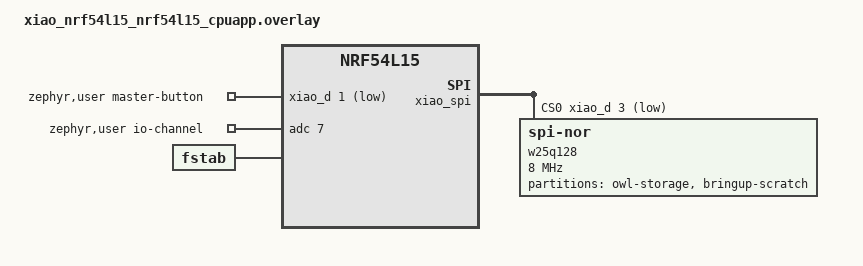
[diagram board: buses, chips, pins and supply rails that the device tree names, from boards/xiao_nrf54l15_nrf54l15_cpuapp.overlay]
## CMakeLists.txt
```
cmake_minimum_required(VERSION 3.20.0)

find_package(Zephyr REQUIRED HINTS $ENV{ZEPHYR_BASE})
project(owl_firmware)

# Hardware-independent logic (also built by tests/unit on native_sim).
target_sources(app PRIVATE
  src/owl_proto.c
  src/control.c
  src/seg_index.c
  src/state.c
  src/power_policy.c
  src/button_sm.c
  src/led_pattern.c
  src/vad.c
  src/pair_policy.c
)

# Zephyr glue.
target_sources(app PRIVATE
  src/main.c
  src/storage.c
  src/audio.c
  src/ble.c
  src/ui.c
  src/power.c
)

if(CONFIG_OWL_CODEC_OPUS)
  include(cmake/opus.cmake)
endif()
```

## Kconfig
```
# Owl application options. Defaults are the "product" settings; the debugging
# knobs are here so bring-up can change them with -D or a .conf overlay.

menu "Owl"

module = OWL
module-str = Owl
source "subsys/logging/Kconfig.template.log_config"

choice OWL_CODEC
	prompt "Audio codec stored in segments"
	default OWL_CODEC_OPUS

config OWL_CODEC_OPUS
	bool "Opus (codec 1), 16 kHz mono"
	help
	  The product codec (PRD D3): ~2 KB/s at 16 kbps, about 2 hours of
	  speech on the 16 MB flash.

config OWL_CODEC_PCM16
	bool "Raw PCM16 (codec 0), debug only"
	help
	  M1 debugging path: no encoder, 32 KB/s, the flash fills in about
	  8 minutes. Useful to tell mic problems from codec problems.

endchoice

config OWL_OPUS_COMPLEXITY
	int "Opus encoder complexity (0-10)"
	range 0 10
	default 3
	help
	  CPU vs. quality. Check the "encode: avg ... us" log line on the
	  board: the average must stay well below 20000 us per frame.

config OWL_OPUS_ARM_DSP
	bool "Use Opus' ARM DSP inline assembly"
	default y
	help
	  Cortex-M33 with the DSP extension runs Opus' ARMv5E multiply macros.

config OWL_OPUS_ENC_MEM
	int "Static memory for the Opus encoder state (bytes)"
	default 26624
	help
	  opus_encoder_get_size(1) is 24548 B for libopus 1.5.2 fixed point
	  (measured by tests/opus on native_sim, also ILP32). The recorder
	  checks the real size at boot and refuses to start if it doesn't fit.

config OWL_AUDIO_STACK_SIZE
	int "Recorder thread stack (bytes)"
	default 24576
	help
	  Opus is built with VAR_ARRAYS, so its scratch buffers live on this
	  stack. Watch the thread analyzer output in the uart.conf build.

config OWL_REC_RING_SIZE
	int "RAM ring between encoder and flash writer (bytes)"
	default 32768 if OWL_CODEC_PCM16
	default 8192
	help
	  Absorbs flash erase stalls (up to ~0.4 s per 4 KiB sector).
	  8 KiB is ~4 s of Opus.

config OWL_PDM_CHANNEL_RIGHT
	bool "Read the mic on the RIGHT PDM channel"
	help
	  The mic's L/R strap decides on which clock edge it drives data.
	  If the M0 bring-up shows rms ~0 on LEFT, set this.

config OWL_MIC_GAIN_SHIFT
	int "Digital mic gain as a left shift (0 = none, 1 = +6 dB, ...)"
	range 0 4
	default 0

config OWL_VAD_HANGOVER_MS
	int "Silence that ends a segment (ms)"
	default 1500

config OWL_VAD_PREROLL_MS
	int "Audio kept from before speech onset (ms)"
	default 200

config OWL_SEG_INDEX_MAX
	int "Max closed segments kept on flash"
	default 4096
	help
	  8 bytes of RAM each. 4096 matches the number of 4 KiB flash blocks,
	  which already bounds the number of files.

config OWL_SEG_SYNC_KB
	int "Commit audio to flash every N KiB"
	default 16
	help
	  A power cut loses at most this much (+ the 4 KiB RAM buffer).
	  16 KiB is ~8 s of Opus. Every commit copies one partly written
	  4 KiB block, so smaller values cost flash wear.

config OWL_STORAGE_RESERVE_KB
	int "Free space kept for events and file system metadata (KiB)"
	default 128

config OWL_BATTERY_PERIOD_S
	int "Battery check interval while on (s)"
	default 60

config OWL_BATTERY_CHECK_S
	int "Wake interval while off for low battery (s)"
	default 3600

config OWL_VBAT_SETTLE_MS
	int "Battery divider settle time before the ADC read (ms)"
	default 10
	help
	  Seeed's example uses 100 ms. Increase if readings are noisy.

endmenu

source "Kconfig.zephyr"
```

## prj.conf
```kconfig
# Base config = "battery build".
# UART is off on purpose: Seeed's wiki reports the XIAO nRF54L15 may fail to boot
# from battery alone when UART is enabled. For USB debugging, add uart.conf:
#   west build ... -- -DEXTRA_CONF_FILE=uart.conf

CONFIG_SERIAL=n
CONFIG_CONSOLE=n
CONFIG_UART_CONSOLE=n
CONFIG_LOG=n

# --- peripherals
CONFIG_GPIO=y
CONFIG_ADC=y
CONFIG_REGULATOR=y
CONFIG_SPI=y
CONFIG_FLASH=y
CONFIG_SPI_NOR=y
CONFIG_AUDIO=y
CONFIG_AUDIO_DMIC=y

# --- power: idle peripherals suspend themselves (external flash deep power-down)
CONFIG_PM_DEVICE=y
CONFIG_PM_DEVICE_RUNTIME=y
CONFIG_POWEROFF=y

# --- storage (decisions #18)
CONFIG_FILE_SYSTEM=y
CONFIG_FILE_SYSTEM_LITTLEFS=y
CONFIG_FILE_SYSTEM_MKFS=y
CONFIG_FLASH_MAP=y
CONFIG_FS_LITTLEFS_FMP_DEV=y
# segment, event and FETCH reader files + state file
CONFIG_FS_LITTLEFS_NUM_FILES=6
CONFIG_FS_LITTLEFS_NUM_DIRS=2

# --- Bluetooth peripheral (protocol §2)
CONFIG_BT=y
CONFIG_BT_PERIPHERAL=y
CONFIG_BT_DEVICE_NAME="Owl"
CONFIG_BT_DEVICE_NAME_DYNAMIC=y
CONFIG_BT_DEVICE_NAME_MAX=12
CONFIG_BT_MAX_CONN=1

# --- BLE security (protocol §2.4, decisions #33-#39)
# LE Secure Connections only, Just Works (no display/keypad), bonding required.
CONFIG_BT_SMP=y
CONFIG_BT_SMP_SC_PAIR_ONLY=y
CONFIG_BT_BONDABLE=y
CONFIG_BT_BONDING_REQUIRED=y
# pairing_accept() gates pairing by the power-on window (pair_policy.c).
CONFIG_BT_SMP_APP_PAIRING_ACCEPT=y
# The same phone may pair again (after it forgot us) inside the window. Without
# this, SMP refuses a Just Works pairing from a peer that already has a bond,
# before pairing_accept() is even asked. Outside the window pairing_accept()
# still refuses, so a spoofed address gains nothing.
CONFIG_BT_SMP_ALLOW_UNAUTH_OVERWRITE=y
# One phone at a time, plus a slot for the new phone while it pairs; ble.c
# deletes the old bond once the new one is complete.
CONFIG_BT_MAX_PAIRED=2
# Bonds persist in Zephyr settings on ZMS, in the board's `storage_partition`
# (internal RRAM, 36 KiB). Not the external flash: LittleFS and the bring-up
# scratch sector stay as they are. ZMS must be named: with FILE_SYSTEM=y the
# settings backend would otherwise default to a LittleFS file.
CONFIG_SETTINGS=y
CONFIG_ZMS=y
CONFIG_SETTINGS_ZMS=y
CONFIG_BT_SETTINGS=y
# MTU 247 + Data Length Extension 251 + 2M PHY
CONFIG_BT_L2CAP_TX_MTU=247
CONFIG_BT_BUF_ACL_TX_SIZE=251
CONFIG_BT_BUF_ACL_RX_SIZE=251
CONFIG_BT_BUF_ACL_TX_COUNT=10
CONFIG_BT_CONN_TX_MAX=10
CONFIG_BT_BUF_EVT_RX_COUNT=16
CONFIG_BT_CTLR_DATA_LENGTH_MAX=251
CONFIG_BT_USER_DATA_LEN_UPDATE=y
CONFIG_BT_USER_PHY_UPDATE=y
CONFIG_BT_GATT_CLIENT=y
# Ask for a 15-30 ms interval while connected (transfers are short bursts)
CONFIG_BT_PERIPHERAL_PREF_MIN_INT=12
CONFIG_BT_PERIPHERAL_PREF_MAX_INT=24
CONFIG_BT_PERIPHERAL_PREF_LATENCY=0
CONFIG_BT_PERIPHERAL_PREF_TIMEOUT=400
CONFIG_BT_GAP_AUTO_UPDATE_CONN_PARAMS=y

# --- kernel
CONFIG_MAIN_STACK_SIZE=4096
CONFIG_SYSTEM_WORKQUEUE_STACK_SIZE=2048
CONFIG_RING_BUFFER=y
CONFIG_HWINFO=y
```

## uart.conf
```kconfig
# Debug overlay: logs over the USB serial port (SAMD11 bridge -> uart20).
# Use only while the board is on USB.
CONFIG_SERIAL=y
CONFIG_CONSOLE=y
CONFIG_UART_CONSOLE=y
CONFIG_LOG=y
CONFIG_LOG_MODE_DEFERRED=y
CONFIG_LOG_BUFFER_SIZE=4096
CONFIG_LOG_DEFAULT_LEVEL=3
CONFIG_OWL_LOG_LEVEL_INF=y
# Prints each thread's peak stack use every 60 s (watch "audio": Opus uses VLAs).
CONFIG_THREAD_ANALYZER=y
CONFIG_THREAD_ANALYZER_AUTO=y
CONFIG_THREAD_ANALYZER_AUTO_INTERVAL=60
CONFIG_THREAD_NAME=y
```

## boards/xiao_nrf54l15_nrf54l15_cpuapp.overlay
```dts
/*
 * Owl wiring on XIAO nRF54L15 Sense (see hardware/wiring.md).
 * Zephyr picks this file up automatically for board xiao_nrf54l15/nrf54l15/cpuapp.
 *
 *   W25Q128 SPI flash : D8 SCK, D9 MISO, D10 MOSI (xiao_spi = spi00), D3 CS
 *   Master button     : D1 -> GND, internal pull-up
 *   Battery voltage   : AIN7 via vbat_pwr load switch, divider 1/2 (board dts)
 *
 * Flash layout (W25Q128, 16 MiB):
 *   0x000000 - 0xFFEFFF  LittleFS "/lfs" (segments, events, state)
 *   0xFFF000 - 0xFFFFFF  4 KiB scratch for the M0 bring-up erase/write test
 */

/ {
	zephyr,user {
		io-channels = <&adc 7>;
		master-button-gpios = <&xiao_d 1 (GPIO_PULL_UP | GPIO_ACTIVE_LOW)>;
	};

	fstab {
		compatible = "zephyr,fstab";

		owl_lfs: owl_lfs {
			compatible = "zephyr,fstab,littlefs";
			mount-point = "/lfs";
			partition = <&lfs_partition>;
			/* Mounted by storage.c, after the power-on decision. */
			read-size = <16>;
			prog-size = <16>;
			cache-size = <512>;
			/* 512 bytes = 4096 bits = one bit per block: one scan covers the flash. */
			lookahead-size = <512>;
			block-cycles = <512>;
		};
	};

	aliases {
		ext-flash = &w25q128;
		/* The board only names it dmic20. */
		dmic0 = &pdm20;
	};
};

&pdm20 {
	/* Filled blocks the driver may hold for us before it stops the PDM: 240 ms. */
	queue-size = <12>;
};

&xiao_spi {
	status = "okay";
	cs-gpios = <&xiao_d 3 GPIO_ACTIVE_LOW>;

	w25q128: w25q128@0 {
		compatible = "jedec,spi-nor";
		reg = <0>;
		spi-max-frequency = <8000000>;
		/* size is in bits: 128 Mbit = 16 MiB */
		size = <0x8000000>;
		/* W25Q128JV-IQ/JQ. If bring-up reports EF 70 18, it is the -IM variant: update this. */
		jedec-id = [ef 40 18];
		has-dpd;
		t-enter-dpd = <3000>;
		t-exit-dpd = <3000>;
		/* Driver puts the chip in deep power-down (~1 uA) whenever it is idle. */
		zephyr,pm-device-runtime-auto;

		partitions {
			compatible = "fixed-partitions";
			#address-cells = <1>;
			#size-cells = <1>;

			lfs_partition: partition@0 {
				label = "owl-storage";
				reg = <0x00000000 0x00fff000>;
			};

			bringup_partition: partition@fff000 {
				label = "bringup-scratch";
				reg = <0x00fff000 0x00001000>;
			};
		};
	};
};
```

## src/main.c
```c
/*
 * Owl firmware: boot sequence and the glue between modules.
 *
 *   storage.c  LittleFS: segments, events, persisted state   (M1)
 *   audio.c    PDM -> VAD -> Opus -> segments                 (M1/M2)
 *   ble.c      GATT service, CONTROL ops, DATA streaming      (M3)
 *   ui.c       button state machine, LED patterns             (M3)
 *   power.c    battery ADC, System OFF, GRTC wake             (M5 logic)
 *
 * Boot:
 *   1. mount flash, read why we were off (state file)
 *   2. power-on gate: off-by-button needs a 5 s press; off-by-battery needs
 *      >= 3.8 V (hourly GRTC wake). Otherwise straight back to System OFF.
 *   3. boot_count++, repair half-written segments, log event 7
 *   4. start recorder, BLE, button, battery monitor
 */

#include <stdlib.h>

#include <zephyr/kernel.h>
#include <zephyr/logging/log.h>
#include <app_version.h>

#include "app.h"
#include "audio.h"
#include "ble.h"
#include "power.h"
#include "power_policy.h"
#include "storage.h"
#include "ui.h"
#include "workq.h"

LOG_MODULE_REGISTER(owl, CONFIG_OWL_LOG_LEVEL);

/* ------------------------------------------------------------- work queue */

K_THREAD_STACK_DEFINE(app_wq_stack, 3072);
struct k_work_q app_workq;

void app_workq_start(void)
{
	/* Preemptible and below the recorder, so flash work never starves audio. */
	k_work_queue_start(&app_workq, app_wq_stack, K_THREAD_STACK_SIZEOF(app_wq_stack), 9,
			   NULL);
}

/* ------------------------------------------------------------ app state */

static K_MUTEX_DEFINE(app_lock);
static bool recording_on;
static atomic_t battery_mv;
static struct owl_batt_policy batt;
static atomic_t powering_off;

static void update_ui_status(void)
{
	uint8_t bits = 0;

	if (audio_is_capturing()) {
		bits |= OWL_LED_ST_RECORDING;
	}
	if (batt.low) {
		bits |= OWL_LED_ST_BATTERY_LOW;
	}
	if (audio_is_full()) {
		bits |= OWL_LED_ST_STORAGE_FULL;
	}
	ui_led_set_status(bits);
	ble_notify_status();
}

static void status_work_fn(struct k_work *w)
{
	update_ui_status();
}

static K_WORK_DEFINE(status_work, status_work_fn);

static void on_audio_state(void)
{
	k_work_submit_to_queue(&app_workq, &status_work);
}

void app_fill_status(struct owl_status *s)
{
	struct storage_usage u;

	storage_get_usage(&u);
	s->fw_ver[0] = APP_VERSION_MAJOR;
	s->fw_ver[1] = APP_VERSION_MINOR;
	s->fw_ver[2] = APP_PATCHLEVEL;
	s->battery_mv = (uint16_t)MAX(atomic_get(&battery_mv), 0);
	s->flags = 0;
	if (recording_on) {
		s->flags |= OWL_FLAG_RECORDING;
	}
	if (u.low) {
		s->flags |= OWL_FLAG_STORAGE_LOW;
	}
	if (audio_is_full()) {
		s->flags |= OWL_FLAG_STORAGE_FULL;
	}
	if (ble_pairing_open()) {
		s->flags |= OWL_FLAG_PAIRING_OPEN;
	}
	s->storage_used_kb = u.used_kb;
	s->storage_total_kb = u.total_kb;
	s->pending_segments = u.pending;
	s->boot_count = storage_boot_count();
}

int app_set_recording(bool on, uint8_t cause)
{
	int res = OWL_RESULT_OK;

	k_mutex_lock(&app_lock, K_FOREVER);
	if (recording_on != on) {
		if (storage_set_recording(on)) {
			res = OWL_RESULT_BUSY;
		} else {
			recording_on = on;
			/* State-changing events record the result (protocol §3.3). */
			storage_event(on ? OWL_EVT_RECORDING_ON : OWL_EVT_RECORDING_OFF, cause);
			audio_set_enabled(on);
			ui_led_play(on ? OWL_LED_REC_ON : OWL_LED_REC_OFF);
			LOG_INF("recording %s (%s)", on ? "on" : "off",
				cause == OWL_CAUSE_APP ? "app" : "button");
		}
	}
	k_mutex_unlock(&app_lock);
	on_audio_state();
	return res;
}

int app_set_config(uint8_t key, uint32_t value)
{
	int res = storage_set_config(key, value);

	if (res == OWL_RESULT_OK) {
		struct owl_state st;

		storage_get_state(&st);
		audio_apply_config(&st.cfg);
		LOG_INF("config key %u = %u", key, value);
	}
	return res;
}

/* ------------------------------------------------------------- power off */

static FUNC_NORETURN void power_off(uint8_t cause)
{
	bool battery = cause == OWL_CAUSE_BATTERY;

	atomic_set(&powering_off, 1);
	LOG_INF("powering off (%s)", battery ? "battery" : "button");
	ui_led_play(OWL_LED_POWER_OFF);
	ble_stop();
	audio_shutdown();
	storage_event(OWL_EVT_POWER_OFF, cause);
	storage_set_power_state(battery ? OWL_PWR_OFF_BATTERY : OWL_PWR_OFF_BUTTON);
	storage_flush();
	ui_led_wait(2000);
	/* Only a battery shutdown wakes by itself to look for a charger (decisions #20). */
	power_system_off(battery);
	CODE_UNREACHABLE;
}

/* ---------------------------------------------------------------- button */

static void on_button(enum owl_btn_action a)
{
	if (atomic_get(&powering_off)) {
		return;
	}
	switch (a) {
	case OWL_BTN_BOOKMARK:
		ui_led_play(OWL_LED_BOOKMARK);
		storage_event(OWL_EVT_BOOKMARK, 0);
		ble_notify_status();
		break;
	case OWL_BTN_HINT_2S:
		ui_led_play(OWL_LED_HINT_2S);
		break;
	case OWL_BTN_HINT_5S:
		ui_led_play(OWL_LED_HINT_5S);
		break;
	case OWL_BTN_REC_TOGGLE:
		app_set_recording(!recording_on, OWL_CAUSE_BUTTON);
		break;
	case OWL_BTN_POWER_OFF:
		power_off(OWL_CAUSE_BUTTON);
		break;
	default:
		break;
	}
}

/* --------------------------------------------------------------- battery */

static void battery_work_fn(struct k_work *w);
static K_WORK_DELAYABLE_DEFINE(battery_work, battery_work_fn);

static void battery_work_fn(struct k_work *w)
{
	int mv = power_battery_mv();
	int old = atomic_set(&battery_mv, mv);
	bool was_low = batt.low;

	switch (owl_batt_policy_update(&batt, mv)) {
	case OWL_BATT_WARN:
		LOG_WRN("battery low: %d mV", mv);
		storage_event(OWL_EVT_BATTERY_LOW, 0);
		break;
	case OWL_BATT_SHUTDOWN:
		LOG_WRN("battery empty: %d mV", mv);
		power_off(OWL_CAUSE_BATTERY);
		break;
	default:
		break;
	}
	if (batt.low != was_low || abs(mv - old) >= 20) {
		update_ui_status();
	}
	/* Below cutoff: confirm quickly instead of waiting a full period. */
	k_work_schedule_for_queue(&app_workq, &battery_work,
				  batt.below_cutoff ? K_SECONDS(5)
						    : K_SECONDS(CONFIG_OWL_BATTERY_PERIOD_S));
}

/* ------------------------------------------------------------------ boot */

/* After a wake from System OFF by the button: is it held until 5 s of uptime? */
static bool button_held_5s(void)
{
	while (k_uptime_get() < OWL_BTN_VERYLONG_MS) {
		if (!ui_button_pressed()) {
			return false;
		}
		k_msleep(20);
	}
	return true;
}

static void fatal_blink(const char *what)
{
	LOG_ERR("FATAL: %s", what);
	for (;;) {
		ui_led_play(OWL_LED_HINT_5S); /* fast blinks, like the M0 failure signal */
		k_msleep(1000);
	}
}

int main(void)
{
	struct owl_state st;
	int err;

	LOG_INF("Owl firmware %s", APP_VERSION_STRING);
	ui_led_init();
	ui_button_init();
	power_init();
	app_workq_start();

	err = storage_init();
	if (err) {
		fatal_blink("storage");
	}
	storage_get_state(&st);

	/* 1. power-on gate */
	int mv = power_battery_mv();
	bool held = false;

	if (st.power_state != OWL_PWR_ON && ui_button_pressed()) {
		held = button_held_5s();
	}
	struct owl_boot_decision d = owl_boot_decide(st.power_state, mv, held);

	LOG_INF("boot: was %u, %d mV, button %s -> %s", st.power_state, mv,
		held ? "held 5 s" : "no", d.power_on ? "ON" : "stay off");
	if (!d.power_on) {
		power_system_off(d.timer_wake);
	}

	/* 2. we are on */
	err = storage_boot();
	if (err) {
		LOG_ERR("storage boot: %d", err);
	}
	storage_get_state(&st);
	storage_event(OWL_EVT_POWER_ON, d.cause);
	ui_led_play(OWL_LED_POWER_ON);
	LOG_INF("boot_count %u, recording %s", st.boot_count, st.recording_on ? "on" : "off");

	atomic_set(&battery_mv, mv);
	owl_batt_policy_init(&batt);
	recording_on = st.recording_on;

	/* 3. subsystems */
	if (audio_init(on_audio_state) == 0) {
		audio_apply_config(&st.cfg);
		audio_set_enabled(st.recording_on);
		audio_start();
	} else {
		LOG_ERR("no microphone: BLE sync still works, recording does not");
	}

	err = ble_init();
	if (err) {
		LOG_ERR("BLE init: %d", err);
	}

	ui_button_start(on_button, ui_button_pressed());
	k_work_schedule_for_queue(&app_workq, &battery_work, K_NO_WAIT);
	update_ui_status();
	return 0;
}
```

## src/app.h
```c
/*
 * Functions main.c provides to the other modules (it owns the cross-module
 * state: recording switch, battery reading, LED status).
 */

#ifndef OWL_APP_H_
#define OWL_APP_H_

#include <stdbool.h>
#include <stdint.h>

#include "owl_proto.h"

/* Snapshot for the STATUS characteristic. */
void app_fill_status(struct owl_status *s);

/* Recording switch from the button (OWL_CAUSE_BUTTON) or the app (OWL_CAUSE_APP).
 * Logs event 2/3 when the state changes. Returns an enum owl_result.
 */
int app_set_recording(bool on, uint8_t cause);

/* SET_CONFIG. Returns an enum owl_result. */
int app_set_config(uint8_t key, uint32_t value);

#endif /* OWL_APP_H_ */
```

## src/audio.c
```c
/*
 * Recorder: capture, VAD, encode, and hand frames to the flash writer. See audio.h.
 *
 * PDM in one paragraph: the MEMS mic outputs a 1-bit stream at ~1-3 MHz; the
 * nRF PDM peripheral low-pass filters and decimates it to 16 kHz PCM16 and DMAs
 * it into blocks from a memory slab. dmic_read() hands us one filled block
 * (20 ms = 320 samples here); we must give it back with k_mem_slab_free().
 * If we are too slow the driver runs out of free blocks and drops audio.
 */

#include <errno.h>
#include <string.h>

#include <zephyr/kernel.h>
#include <zephyr/device.h>
#include <zephyr/audio/dmic.h>
#include <zephyr/drivers/regulator.h>
#include <zephyr/sys/ring_buffer.h>
#include <zephyr/logging/log.h>

#if defined(CONFIG_OWL_CODEC_OPUS)
#include <opus.h>
#endif

#include "audio.h"
#include "owl_proto.h"
#include "storage.h"
#include "vad.h"

LOG_MODULE_REGISTER(audio, CONFIG_OWL_LOG_LEVEL);

#define RATE          16000
#define FRAME_MS      20
#define FRAME_SAMPLES (RATE * FRAME_MS / 1000) /* 320 */
#define FRAME_BYTES   (FRAME_SAMPLES * 2)
/* 12 blocks = 240 ms of slack for encoder bursts (pre-roll) and scheduling. */
#define BLOCK_COUNT   12
#define PREROLL_FRAMES (CONFIG_OWL_VAD_PREROLL_MS / FRAME_MS)

#if defined(CONFIG_OWL_CODEC_OPUS)
#define CODEC        OWL_CODEC_OPUS
#define MAX_PACKET   256 /* 16 kbps CVBR gives ~40 B per 20 ms; this is generous */
#else
#define CODEC        OWL_CODEC_PCM16
#define MAX_PACKET   FRAME_BYTES
#endif

static const struct device *const dmic = DEVICE_DT_GET(DT_ALIAS(dmic0));

/* The board switches mic + IMU power with a load switch; off while not recording. */
#if DT_NODE_EXISTS(DT_NODELABEL(pdm_imu_pwr))
static const struct device *const mic_pwr = DEVICE_DT_GET(DT_NODELABEL(pdm_imu_pwr));
#else
static const struct device *const mic_pwr;
#endif

K_MEM_SLAB_DEFINE_STATIC(pcm_slab, FRAME_BYTES, BLOCK_COUNT, 4);

static audio_state_cb_t state_cb;
static K_SEM_DEFINE(wake, 0, 1);
static atomic_t enabled;
static atomic_t shutting_down;
static atomic_t capturing;
static atomic_t full;

/* Config, applied by the audio thread at safe points. */
static struct k_spinlock cfg_lock;
static struct owl_config cfg = {.opus_bitrate = 16000, .vad_sensitivity = 2, .segment_max_s = 300};
static atomic_t cfg_dirty;

/* -------------------------------------------------- ring to the writer */

enum msg_type { MSG_BEGIN = 1, MSG_FRAME = 2, MSG_END = 3 };

RING_BUF_DECLARE(ring, CONFIG_OWL_REC_RING_SIZE);
static struct k_spinlock ring_lock;
static K_SEM_DEFINE(ring_sem, 0, 1);
static atomic_t writer_busy;

/* Puts [type][len u16][a][b] atomically, or nothing. */
static bool post(uint8_t type, const void *a, uint16_t alen, const void *b, uint16_t blen)
{
	uint8_t hdr[3] = {type, (uint8_t)(alen + blen), (uint8_t)((alen + blen) >> 8)};
	k_spinlock_key_t key = k_spin_lock(&ring_lock);
	bool ok = ring_buf_space_get(&ring) >= sizeof(hdr) + alen + blen;

	if (ok) {
		ring_buf_put(&ring, hdr, sizeof(hdr));
		if (alen) {
			ring_buf_put(&ring, a, alen);
		}
		if (blen) {
			ring_buf_put(&ring, b, blen);
		}
	}
	k_spin_unlock(&ring_lock, key);
	if (ok) {
		k_sem_give(&ring_sem);
	}
	return ok;
}

static bool post_begin(uint64_t start_ms)
{
	uint8_t b[8];

	owl_put_u64(b, start_ms);
	return post(MSG_BEGIN, b, sizeof(b), NULL, 0);
}

static bool ring_get(void *dst, uint32_t len)
{
	k_spinlock_key_t key = k_spin_lock(&ring_lock);
	uint32_t n = ring_buf_get(&ring, dst, len);

	k_spin_unlock(&ring_lock, key);
	return n == len;
}

static bool ring_empty(void)
{
	k_spinlock_key_t key = k_spin_lock(&ring_lock);
	bool e = ring_buf_is_empty(&ring);

	k_spin_unlock(&ring_lock, key);
	return e;
}

static void set_full(bool on)
{
	if (atomic_set(&full, on) == on) {
		return;
	}
	if (on) {
		/* Event 4 once per episode; recording resumes after the phone frees space. */
		storage_event(OWL_EVT_STORAGE_FULL, 0);
	}
	if (state_cb) {
		state_cb();
	}
	k_sem_give(&wake);
}

static void writer_thread(void *a, void *b, void *c)
{
	static uint8_t payload[MAX_PACKET + 8];
	bool seg_open = false;
	bool drop = false;

	for (;;) {
		if (ring_empty()) {
			atomic_set(&writer_busy, 0);
			k_sem_take(&ring_sem, K_FOREVER);
			continue;
		}
		/* Set before taking the message, so audio_shutdown() never sees "empty and idle"
		 * while the last message is still being written.
		 */
		atomic_set(&writer_busy, 1);

		uint8_t hdr[3];

		if (!ring_get(hdr, sizeof(hdr))) {
			continue;
		}
		uint16_t len = owl_get_u16(&hdr[1]);

		if (len > sizeof(payload) || !ring_get(payload, len)) {
			LOG_ERR("ring corrupt, resetting");
			ring_buf_reset(&ring);
			continue;
		}

		int err = 0;

		switch (hdr[0]) {
		case MSG_BEGIN:
			if (seg_open) {
				storage_seg_end(); /* its END was lost */
			}
			err = storage_seg_begin(CODEC, FRAME_MS, owl_get_u64(payload));
			seg_open = err == 0;
			drop = !seg_open;
			break;
		case MSG_FRAME:
			if (seg_open && !drop) {
				err = storage_seg_append(payload, len);
			}
			break;
		case MSG_END:
			if (seg_open) {
				storage_seg_end();
			}
			seg_open = false;
			drop = false;
			break;
		}

		if (err) {
			/* Keep what is on flash and skip the rest of this segment. */
			if (seg_open) {
				storage_seg_end();
				seg_open = false;
			}
			drop = true;
			if (err == -ENOSPC) {
				set_full(true);
			} else {
				LOG_ERR("writer: msg %u err %d", hdr[0], err);
			}
		}
	}
}

K_THREAD_DEFINE(writer_tid, 4096, writer_thread, NULL, NULL, NULL, 6, 0, -1);

/* ------------------------------------------------------------- encoder */

#if defined(CONFIG_OWL_CODEC_OPUS)
static uint8_t enc_mem[CONFIG_OWL_OPUS_ENC_MEM] __aligned(8);
static OpusEncoder *enc;

static int codec_init(uint32_t bitrate)
{
	int size = opus_encoder_get_size(1);

	if (size <= 0 || size > (int)sizeof(enc_mem)) {
		LOG_ERR("opus encoder needs %d bytes, have %u", size, sizeof(enc_mem));
		return -ENOMEM;
	}
	enc = (OpusEncoder *)enc_mem;
	int err = opus_encoder_init(enc, RATE, 1, OPUS_APPLICATION_VOIP);

	if (err != OPUS_OK) {
		LOG_ERR("opus init: %d", err);
		return -EIO;
	}
	opus_encoder_ctl(enc, OPUS_SET_BITRATE(bitrate));
	opus_encoder_ctl(enc, OPUS_SET_COMPLEXITY(CONFIG_OWL_OPUS_COMPLEXITY));
	opus_encoder_ctl(enc, OPUS_SET_SIGNAL(OPUS_SIGNAL_VOICE));
	opus_encoder_ctl(enc, OPUS_SET_BANDWIDTH(OPUS_BANDWIDTH_WIDEBAND));
	/* Constrained VBR: size stays near the target, which keeps the 2 h estimate honest. */
	opus_encoder_ctl(enc, OPUS_SET_VBR(1));
	opus_encoder_ctl(enc, OPUS_SET_VBR_CONSTRAINT(1));
	/* VAD already removed silence; DTX/FEC only matter for live streaming. */
	opus_encoder_ctl(enc, OPUS_SET_DTX(0));
	opus_encoder_ctl(enc, OPUS_SET_INBAND_FEC(0));
	opus_encoder_ctl(enc, OPUS_SET_LSB_DEPTH(16));
	LOG_INF("opus: %d B state, %u bps, complexity %d", size, bitrate,
		CONFIG_OWL_OPUS_COMPLEXITY);
	return 0;
}

static void codec_set_bitrate(uint32_t bitrate)
{
	opus_encoder_ctl(enc, OPUS_SET_BITRATE(bitrate));
}

/* Each segment must decode on its own, so the encoder forgets the previous one. */
static void codec_reset(void)
{
	opus_encoder_ctl(enc, OPUS_RESET_STATE);
}

static int codec_encode(const int16_t *pcm, uint8_t *out)
{
	return opus_encode(enc, pcm, FRAME_SAMPLES, out, MAX_PACKET);
}
#else
static int codec_init(uint32_t bitrate)
{
	ARG_UNUSED(bitrate);
	LOG_WRN("PCM16 debug codec: ~115 MB/h, flash fills in ~8 min");
	return 0;
}

static void codec_set_bitrate(uint32_t bitrate)
{
	ARG_UNUSED(bitrate);
}

static void codec_reset(void)
{
}

static int codec_encode(const int16_t *pcm, uint8_t *out)
{
	memcpy(out, pcm, FRAME_BYTES); /* nRF is little-endian, same as the wire */
	return FRAME_BYTES;
}
#endif

/* ---------------------------------------------------------- audio thread */

static int16_t preroll[PREROLL_FRAMES][FRAME_SAMPLES];
static int preroll_head, preroll_count;
static uint8_t packet[MAX_PACKET];
static bool broken; /* a frame was lost to a full ring: restart the segment */

static struct {
	uint32_t frames;
	uint32_t cycles_sum;
	uint32_t cycles_max;
	uint32_t dropped;
} stats;

static void encode_and_post(const int16_t *pcm)
{
	uint32_t t0 = k_cycle_get_32();
	int n = codec_encode(pcm, packet);
	uint32_t dt = k_cycle_get_32() - t0;

	stats.frames++;
	stats.cycles_sum += dt;
	stats.cycles_max = MAX(stats.cycles_max, dt);
	if (stats.frames == 500) { /* every 10 s of speech */
		LOG_INF("encode: avg %u us, max %u us per 20 ms frame, %u dropped",
			k_cyc_to_us_floor32(stats.cycles_sum / stats.frames),
			k_cyc_to_us_floor32(stats.cycles_max), stats.dropped);
		memset(&stats, 0, sizeof(stats));
	}

	if (n <= 0) {
		LOG_ERR("encode: %d", n);
		return;
	}
	if (broken) {
		/* Close the damaged segment and start fresh so frame count == duration again. */
		if (!post(MSG_END, NULL, 0, NULL, 0) ||
		    !post_begin((uint64_t)k_uptime_get() - FRAME_MS)) {
			stats.dropped++;
			return;
		}
		broken = false;
		codec_reset();
	}
	if (!post(MSG_FRAME, packet, (uint16_t)n, NULL, 0)) {
		stats.dropped++;
		broken = true;
	}
}

static void preroll_push(const int16_t *pcm)
{
	if (PREROLL_FRAMES == 0) {
		return;
	}
	memcpy(preroll[preroll_head], pcm, FRAME_BYTES);
	preroll_head = (preroll_head + 1) % PREROLL_FRAMES;
	preroll_count = MIN(preroll_count + 1, PREROLL_FRAMES);
}

static void preroll_flush(void)
{
	int start = (preroll_head - preroll_count + PREROLL_FRAMES) % MAX(PREROLL_FRAMES, 1);

	for (int i = 0; i < preroll_count; i++) {
		encode_and_post(preroll[(start + i) % PREROLL_FRAMES]);
	}
	preroll_count = 0;
}

static void apply_gain(int16_t *pcm)
{
#if CONFIG_OWL_MIC_GAIN_SHIFT > 0
	for (int i = 0; i < FRAME_SAMPLES; i++) {
		int32_t v = (int32_t)pcm[i] << CONFIG_OWL_MIC_GAIN_SHIFT;

		pcm[i] = (int16_t)CLAMP(v, INT16_MIN, INT16_MAX);
	}
#else
	ARG_UNUSED(pcm);
#endif
}

static int mic_start(void)
{
	struct pcm_stream_cfg stream = {
		.pcm_rate = RATE,
		.pcm_width = 16,
		.block_size = FRAME_BYTES,
		.mem_slab = &pcm_slab,
	};
	struct dmic_cfg dcfg = {
		.io = {
			.min_pdm_clk_freq = 1000000,
			.max_pdm_clk_freq = 3500000,
			.min_pdm_clk_dc = 40,
			.max_pdm_clk_dc = 60,
		},
		.streams = &stream,
		.channel = {
			.req_num_streams = 1,
			.req_num_chan = 1,
		},
	};
	/* The mic's L/R strap picks the clock edge it drives data on; see Kconfig. */
	dcfg.channel.req_chan_map_lo = dmic_build_channel_map(
		0, 0, IS_ENABLED(CONFIG_OWL_PDM_CHANNEL_RIGHT) ? PDM_CHAN_RIGHT : PDM_CHAN_LEFT);

	static bool configured;
	int err = 0;

	if (mic_pwr && device_is_ready(mic_pwr)) {
		regulator_enable(mic_pwr); /* includes the rail's 5 ms startup delay */
	}
	/* The PDM keeps its configuration across stop/start; set it up once. */
	if (!configured) {
		err = dmic_configure(dmic, &dcfg);
		configured = err == 0;
	}
	if (!err) {
		err = dmic_trigger(dmic, DMIC_TRIGGER_START);
	}
	if (err) {
		LOG_ERR("mic start: %d", err);
		if (mic_pwr && device_is_ready(mic_pwr)) {
			regulator_disable(mic_pwr);
		}
	}
	return err;
}

static void mic_stop(void)
{
	dmic_trigger(dmic, DMIC_TRIGGER_STOP);
	/* STOP is asynchronous: the PDM finishes the block in flight, then the driver
	 * marks itself inactive. Starting again before that would be ignored.
	 */
	k_msleep(2 * FRAME_MS + 10);
	/* Return the filled blocks we never read. */
	void *buf;
	size_t size;

	while (dmic_read(dmic, 0, &buf, &size, 0) == 0) {
		k_mem_slab_free(&pcm_slab, buf);
	}
	if (mic_pwr && device_is_ready(mic_pwr)) {
		regulator_disable(mic_pwr);
	}
}

static bool should_capture(void)
{
	return atomic_get(&enabled) && !atomic_get(&full) && !atomic_get(&shutting_down);
}

static void set_capturing(bool on)
{
	if (atomic_set(&capturing, on) != on && state_cb) {
		state_cb();
	}
}

static void load_cfg(struct owl_segmenter *seg, struct owl_vad *vad, uint32_t *bitrate)
{
	k_spinlock_key_t key = k_spin_lock(&cfg_lock);
	struct owl_config c = cfg;

	k_spin_unlock(&cfg_lock, key);
	owl_vad_set_sensitivity(vad, c.vad_sensitivity);
	owl_segmenter_set_max(seg, (uint32_t)c.segment_max_s * 1000U);
	*bitrate = c.opus_bitrate;
}

static void check_space(void)
{
	struct storage_usage u;

	storage_get_usage(&u);
	set_full(u.full);
}

static void audio_thread(void *a, void *b, void *c)
{
	static struct owl_vad vad;
	static struct owl_segmenter seg;
	uint32_t bitrate = 16000;

	owl_vad_init(&vad, 2);
	owl_segmenter_init(&seg, CONFIG_OWL_VAD_HANGOVER_MS, 300000);
	load_cfg(&seg, &vad, &bitrate);
	if (codec_init(bitrate)) {
		LOG_ERR("no encoder, recorder disabled");
		return;
	}
	k_thread_start(writer_tid);

	for (;;) {
		check_space();
		if (!should_capture()) {
			set_capturing(false);
			/* Re-check now and then: space may be freed without a callback. */
			k_sem_take(&wake, K_SECONDS(30));
			continue;
		}
		if (mic_start()) {
			k_sem_take(&wake, K_SECONDS(5));
			continue;
		}
		set_capturing(true);
		owl_segmenter_reset(&seg);
		preroll_count = 0;
		broken = false;
		uint32_t n = 0;

		while (should_capture()) {
			void *buf;
			size_t size;

			if (atomic_clear(&cfg_dirty)) {
				uint32_t br;

				load_cfg(&seg, &vad, &br);
				if (br != bitrate) {
					bitrate = br;
					codec_set_bitrate(bitrate);
				}
			}

			int err = dmic_read(dmic, 0, &buf, &size, 200);

			if (err) {
				LOG_ERR("mic read: %d, restarting mic", err);
				break;
			}
			int16_t *pcm = buf;

			apply_gain(pcm);
			bool speech = owl_vad_frame(&vad, pcm, (int)(size / 2));
			enum owl_seg_action act = owl_segmenter_step(&seg, speech);
			uint64_t now = (uint64_t)k_uptime_get();

			switch (act) {
			case OWL_SEG_IDLE:
				preroll_push(pcm);
				break;
			case OWL_SEG_START:
				/* Start time = oldest pre-roll frame; capture latency ~1 frame. */
				broken = !post_begin(now - (uint64_t)(preroll_count + 1) * FRAME_MS);
				codec_reset();
				preroll_flush();
				encode_and_post(pcm);
				break;
			case OWL_SEG_CONTINUE:
				encode_and_post(pcm);
				break;
			case OWL_SEG_END:
				encode_and_post(pcm);
				/* If END doesn't fit, the writer closes the segment at the next BEGIN. */
				post(MSG_END, NULL, 0, NULL, 0);
				break;
			case OWL_SEG_ROLLOVER:
				broken = !post(MSG_END, NULL, 0, NULL, 0) ||
					 !post_begin(now - FRAME_MS);
				codec_reset();
				encode_and_post(pcm);
				break;
			}
			k_mem_slab_free(&pcm_slab, buf);

			if (++n % 50 == 0) { /* once a second */
				check_space();
				LOG_DBG("vad e=%u zcr=%u floor=%u", vad.last_energy, vad.last_zcr,
					vad.floor);
			}
		}

		if (seg.active) {
			post(MSG_END, NULL, 0, NULL, 0);
			owl_segmenter_reset(&seg);
		}
		mic_stop();
	}
}

K_THREAD_DEFINE(audio_tid, CONFIG_OWL_AUDIO_STACK_SIZE, audio_thread, NULL, NULL, NULL, 3, 0, -1);

/* ---------------------------------------------------------------- public */

static void space_freed(void)
{
	k_sem_give(&wake);
}

int audio_init(audio_state_cb_t cb)
{
	state_cb = cb;
	storage_set_space_cb(space_freed);
	if (!device_is_ready(dmic)) {
		LOG_ERR("dmic not ready");
		return -ENODEV;
	}
	if (mic_pwr && device_is_ready(mic_pwr)) {
		regulator_disable(mic_pwr); /* boot default is on; we turn it on when recording */
	}
	return 0;
}

void audio_start(void)
{
	k_thread_start(audio_tid);
}

void audio_set_enabled(bool on)
{
	atomic_set(&enabled, on);
	k_sem_give(&wake);
}

void audio_apply_config(const struct owl_config *c)
{
	k_spinlock_key_t key = k_spin_lock(&cfg_lock);

	cfg = *c;
	k_spin_unlock(&cfg_lock, key);
	atomic_set(&cfg_dirty, 1);
}

bool audio_is_capturing(void)
{
	return atomic_get(&capturing);
}

bool audio_is_full(void)
{
	return atomic_get(&full);
}

void audio_shutdown(void)
{
	atomic_set(&shutting_down, 1);
	k_sem_give(&wake);
	/* Wait for the audio thread to post END and stop the mic, then for the writer. */
	for (int i = 0; i < 50 && atomic_get(&capturing); i++) {
		k_msleep(20);
	}
	for (int i = 0; i < 150 && (!ring_empty() || atomic_get(&writer_busy)); i++) {
		k_msleep(20);
	}
	storage_seg_end(); /* no-op if the writer already closed it */
}
```

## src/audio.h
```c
/*
 * Recorder: PDM mic -> VAD -> Opus (or PCM16) -> segments on flash.
 *
 * Two threads:
 *   audio  : reads 20 ms PDM blocks, runs VAD and the encoder (CPU heavy)
 *   writer : takes encoded frames from a RAM ring and writes them to flash
 * The ring decouples the two, so a slow flash erase (up to ~0.4 s on W25Q128)
 * never makes the PDM driver drop samples.
 */

#ifndef OWL_AUDIO_H_
#define OWL_AUDIO_H_

#include <stdbool.h>

#include "state.h"

/* Called from recorder threads whenever capturing/full changes. Keep it short. */
typedef void (*audio_state_cb_t)(void);

int audio_init(audio_state_cb_t cb);
/* Starts the threads (after the power-on gate). */
void audio_start(void);

/* The user's recording switch (button 2 s / SET_RECORDING). */
void audio_set_enabled(bool on);
/* VAD sensitivity, segment max length and bitrate; applied from the next frame/segment. */
void audio_apply_config(const struct owl_config *cfg);

bool audio_is_capturing(void);
/* Recording is paused because flash is full (STATUS bit3). */
bool audio_is_full(void);

/* Stops capture and waits until the open segment is on flash (before System OFF). */
void audio_shutdown(void);

#endif /* OWL_AUDIO_H_ */
```

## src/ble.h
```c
/*
 * BLE peripheral: Owl GATT service (protocol §2), advertising, and the
 * CONTROL / DATA handling (LIST, FETCH streaming with flow control, ACK).
 */

#ifndef OWL_BLE_H_
#define OWL_BLE_H_

#include <stdbool.h>

int ble_init(void);
/* Push a STATUS notification if a phone is subscribed (cheap to call often). */
void ble_notify_status(void);
bool ble_is_connected(void);
/* Would a new pairing be accepted now (STATUS flag bit4, protocol §2.4)? */
bool ble_pairing_open(void);
/* Disconnect and stop advertising (before System OFF). */
void ble_stop(void);

#endif /* OWL_BLE_H_ */
```

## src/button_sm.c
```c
/* Master button state machine. See button_sm.h. */

#include "button_sm.h"

void owl_btn_init(struct owl_btn_sm *sm, bool held_at_boot)
{
	sm->pressed = held_at_boot;
	sm->ignore_until_release = held_at_boot;
	sm->press_ms = 0;
	sm->hints_sent = 0;
}

enum owl_btn_action owl_btn_edge(struct owl_btn_sm *sm, bool pressed, int64_t now_ms)
{
	if (pressed == sm->pressed) {
		return OWL_BTN_NONE; /* duplicate edge */
	}
	sm->pressed = pressed;

	if (pressed) {
		sm->press_ms = now_ms;
		sm->hints_sent = 0;
		return OWL_BTN_NONE;
	}

	if (sm->ignore_until_release) {
		sm->ignore_until_release = false;
		return OWL_BTN_NONE;
	}

	int64_t held = now_ms - sm->press_ms;

	if (held >= OWL_BTN_VERYLONG_MS) {
		return OWL_BTN_POWER_OFF;
	}
	if (held >= OWL_BTN_LONG_MS) {
		return OWL_BTN_REC_TOGGLE;
	}
	return OWL_BTN_BOOKMARK;
}

enum owl_btn_action owl_btn_tick(struct owl_btn_sm *sm, int64_t now_ms)
{
	if (!sm->pressed || sm->ignore_until_release) {
		return OWL_BTN_NONE;
	}
	int64_t held = now_ms - sm->press_ms;

	/* One hint per tick; if a tick was late, the 5 s hint follows on the next one. */
	if (sm->hints_sent == 0 && held >= OWL_BTN_LONG_MS) {
		sm->hints_sent = 1;
		return OWL_BTN_HINT_2S;
	}
	if (sm->hints_sent == 1 && held >= OWL_BTN_VERYLONG_MS) {
		sm->hints_sent = 2;
		return OWL_BTN_HINT_5S;
	}
	return OWL_BTN_NONE;
}

int64_t owl_btn_next_deadline(const struct owl_btn_sm *sm)
{
	if (!sm->pressed || sm->ignore_until_release) {
		return -1;
	}
	switch (sm->hints_sent) {
	case 0:
		return sm->press_ms + OWL_BTN_LONG_MS;
	case 1:
		return sm->press_ms + OWL_BTN_VERYLONG_MS;
	default:
		return -1;
	}
}
```

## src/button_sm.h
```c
/*
 * Master button state machine (decisions #13, #21). Pure logic, time in ms.
 *
 *   release before 2 s        -> BOOKMARK
 *   still held at 2 s         -> HINT_2S  (LED: "release now = recording toggle")
 *   release between 2 and 5 s -> REC_TOGGLE
 *   still held at 5 s         -> HINT_5S  (LED: "release now = power off")
 *   release after 5 s         -> POWER_OFF
 *
 * Actions fire on release, so the user can change their mind by holding longer.
 * The glue (button.c) debounces the GPIO and feeds clean edges in here.
 */

#ifndef OWL_BUTTON_SM_H_
#define OWL_BUTTON_SM_H_

#include <stdbool.h>
#include <stdint.h>

#define OWL_BTN_LONG_MS     2000
#define OWL_BTN_VERYLONG_MS 5000

enum owl_btn_action {
	OWL_BTN_NONE,
	OWL_BTN_BOOKMARK,
	OWL_BTN_REC_TOGGLE,
	OWL_BTN_POWER_OFF,
	OWL_BTN_HINT_2S,
	OWL_BTN_HINT_5S,
};

struct owl_btn_sm {
	bool pressed;
	/* Set when the button was already down at boot (the 5 s power-on press):
	 * that release must not also count as a press. */
	bool ignore_until_release;
	int64_t press_ms;
	uint8_t hints_sent;
};

void owl_btn_init(struct owl_btn_sm *sm, bool held_at_boot);

/* Feed a debounced edge. Returns the action for a release, else NONE. */
enum owl_btn_action owl_btn_edge(struct owl_btn_sm *sm, bool pressed, int64_t now_ms);

/* Call at (or after) owl_btn_next_deadline() while held. Returns a HINT or NONE. */
enum owl_btn_action owl_btn_tick(struct owl_btn_sm *sm, int64_t now_ms);

/* Absolute time of the next hint, or -1 if nothing is pending. */
int64_t owl_btn_next_deadline(const struct owl_btn_sm *sm);

#endif /* OWL_BUTTON_SM_H_ */
```

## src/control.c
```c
/* CONTROL request dispatch. See control.h. */

#include "control.h"

/* Minimum payload length (after op, seq) per opcode. */
static int payload_len_for(uint8_t op)
{
	switch (op) {
	case OWL_OP_TIME_SYNC:
		return 10; /* unix_ms u64, tz_offset_min i16 */
	case OWL_OP_LIST_SEGMENTS:
		return 5; /* after_id u32, max u8 */
	case OWL_OP_FETCH_SEGMENT:
		return 8; /* id u32, offset u32 */
	case OWL_OP_ACK_SEGMENT:
		return 8; /* id u32, crc32 u32 */
	case OWL_OP_ABORT:
		return 0;
	case OWL_OP_SET_RECORDING:
		return 1; /* on u8 */
	case OWL_OP_SET_CONFIG:
		return 5; /* key u8, value u32 */
	case OWL_OP_UNPAIR:
		return 0;
	default:
		return -1;
	}
}

int owl_control_list_capacity(size_t resp_max)
{
	if (resp_max < 4) {
		return 0;
	}
	int n = (int)((resp_max - 4) / OWL_LIST_ENTRY_LEN);

	return n > OWL_LIST_MAX ? OWL_LIST_MAX : n;
}

size_t owl_control_handle(const struct owl_ctl_ops *ops, const uint8_t *req, size_t len,
			  uint8_t *resp, size_t resp_max)
{
	if (len == 0 || resp_max < 3) {
		return 0;
	}

	const uint8_t op = req[0];
	const uint8_t seq = len >= 2 ? req[1] : 0;
	const uint8_t *p = &req[2];
	size_t out = 3;

	resp[0] = op | OWL_RESPONSE_BIT;
	resp[1] = seq;

	int need = payload_len_for(op);

	if (need < 0) {
		resp[2] = OWL_RESULT_UNKNOWN_OP;
		return out;
	}
	if (len < 2 || len - 2 < (size_t)need) {
		resp[2] = OWL_RESULT_BAD_LENGTH;
		return out;
	}

	int result = OWL_RESULT_OK;

	switch (op) {
	case OWL_OP_TIME_SYNC: {
		uint32_t boot_count = 0;
		uint64_t uptime_ms = 0;

		ops->time_sync(owl_get_u64(&p[0]), (int16_t)owl_get_u16(&p[8]), &boot_count,
			       &uptime_ms);
		if (resp_max >= out + 12) {
			owl_put_u32(&resp[out], boot_count);
			owl_put_u64(&resp[out + 4], uptime_ms);
			out += 12;
		}
		break;
	}
	case OWL_OP_LIST_SEGMENTS: {
		struct owl_list_entry entries[OWL_LIST_MAX];
		int max = p[4];
		int cap = owl_control_list_capacity(resp_max);

		if (max > cap) {
			max = cap;
		}
		int n = max > 0 ? ops->list(owl_get_u32(&p[0]), entries, max) : 0;

		if (n < 0) {
			n = 0;
		}
		resp[out++] = (uint8_t)n;
		for (int i = 0; i < n; i++) {
			owl_list_entry_pack(&entries[i], &resp[out]);
			out += OWL_LIST_ENTRY_LEN;
		}
		break;
	}
	case OWL_OP_FETCH_SEGMENT:
		result = ops->fetch(owl_get_u32(&p[0]), owl_get_u32(&p[4]));
		break;
	case OWL_OP_ACK_SEGMENT:
		result = ops->ack(owl_get_u32(&p[0]), owl_get_u32(&p[4]));
		break;
	case OWL_OP_ABORT:
		ops->abort();
		break;
	case OWL_OP_SET_RECORDING:
		/* Only 0 and 1 are defined; anything else is a malformed request. */
		result = p[0] > 1 ? OWL_RESULT_BAD_LENGTH : ops->set_recording(p[0] == 1);
		break;
	case OWL_OP_SET_CONFIG:
		result = ops->set_config(p[0], owl_get_u32(&p[1]));
		break;
	case OWL_OP_UNPAIR:
		result = ops->unpair();
		break;
	}

	resp[2] = (uint8_t)result;
	return out;
}
```

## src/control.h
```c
/*
 * CONTROL characteristic request parser / response encoder (§2.2).
 *
 * Pure logic: the actual work is delegated to an ops table, so the BLE glue
 * (ble.c) plugs in real storage/recorder calls and the tests plug in fakes.
 */

#ifndef OWL_CONTROL_H_
#define OWL_CONTROL_H_

#include <stdbool.h>
#include <stddef.h>
#include <stdint.h>

#include "owl_proto.h"

struct owl_ctl_ops {
	/* Device ignores the phone's clock; it only answers where it is in its own time. */
	void (*time_sync)(uint64_t unix_ms, int16_t tz_offset_min, uint32_t *boot_count,
			  uint64_t *uptime_ms);
	/* Up to max entries with id > after_id, ascending. Returns the count. */
	int (*list)(uint32_t after_id, struct owl_list_entry *out, int max);
	/* Each returns an enum owl_result. */
	int (*fetch)(uint32_t id, uint32_t offset);
	int (*ack)(uint32_t id, uint32_t crc32);
	void (*abort)(void);
	int (*set_recording)(bool on);
	int (*set_config)(uint8_t key, uint32_t value);
	/* Delete every bond after the response is sent (§2.4). */
	int (*unpair)(void);
};

/*
 * Handles one CONTROL write. Writes the response into resp (at most resp_max
 * bytes, i.e. ATT_MTU - 3 of the current connection) and returns its length,
 * or 0 when no response can be sent (empty write).
 *
 * Payloads longer than expected are accepted and the tail is ignored, so a
 * newer app can append fields (§7). Shorter ones get OWL_RESULT_BAD_LENGTH.
 */
size_t owl_control_handle(const struct owl_ctl_ops *ops, const uint8_t *req, size_t len,
			  uint8_t *resp, size_t resp_max);

/* How many LIST entries fit in one response of resp_max bytes (<= OWL_LIST_MAX). */
int owl_control_list_capacity(size_t resp_max);

#endif /* OWL_CONTROL_H_ */
```

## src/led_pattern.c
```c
/* LED pattern sequencer. See led_pattern.h. */

#include <stddef.h>

#include "led_pattern.h"

#ifndef MAX
#define MAX(a, b) ((a) > (b) ? (a) : (b))
#endif

/*
 * Durations in ms. "short" ~ 60 ms, "long" ~ 500 ms; the LED draws ~0.9 mA
 * while on, so these keep the average well under 0.01 mA (decisions #21).
 */
static const uint16_t p_bookmark[] = {25};
static const uint16_t p_hint_2s[] = {150};
static const uint16_t p_hint_5s[] = {70, 90, 70, 90, 70};
static const uint16_t p_rec_on[] = {600};
static const uint16_t p_rec_off[] = {100, 200, 100};
static const uint16_t p_power_on[] = {500, 300, 500, 300, 500};
static const uint16_t p_power_off[] = {1000};
static const uint16_t p_heartbeat[] = {30};
static const uint16_t p_battery_low[] = {60, 200, 60, 200, 60};
static const uint16_t p_storage_full[] = {500, 300, 500};

#define P(a) {a, sizeof(a) / sizeof(a[0])}

static const struct {
	const uint16_t *steps;
	uint8_t n;
} patterns[OWL_LED_PATTERN_COUNT] = {
	[OWL_LED_BOOKMARK] = P(p_bookmark),
	[OWL_LED_HINT_2S] = P(p_hint_2s),
	[OWL_LED_HINT_5S] = P(p_hint_5s),
	[OWL_LED_REC_ON] = P(p_rec_on),
	[OWL_LED_REC_OFF] = P(p_rec_off),
	[OWL_LED_POWER_ON] = P(p_power_on),
	[OWL_LED_POWER_OFF] = P(p_power_off),
	[OWL_LED_HEARTBEAT] = P(p_heartbeat),
	[OWL_LED_BATTERY_LOW] = P(p_battery_low),
	[OWL_LED_STORAGE_FULL] = P(p_storage_full),
};

/* Periodic slots, in priority order when several are due at once. */
enum { SLOT_FULL, SLOT_BATT, SLOT_HEART, SLOT_COUNT };

static const struct {
	uint8_t status_bit;
	enum owl_led_pattern pattern;
	uint32_t period_ms;
	uint32_t first_ms;
} slots[SLOT_COUNT] = {
	[SLOT_FULL] = {OWL_LED_ST_STORAGE_FULL, OWL_LED_STORAGE_FULL, OWL_LED_WARN_PERIOD_MS,
		       OWL_LED_WARN_FIRST_MS},
	[SLOT_BATT] = {OWL_LED_ST_BATTERY_LOW, OWL_LED_BATTERY_LOW, OWL_LED_WARN_PERIOD_MS,
		       OWL_LED_WARN_FIRST_MS},
	[SLOT_HEART] = {OWL_LED_ST_RECORDING, OWL_LED_HEARTBEAT, OWL_LED_HEARTBEAT_PERIOD_MS,
			OWL_LED_HEARTBEAT_PERIOD_MS},
};

const uint16_t *owl_led_pattern_steps(enum owl_led_pattern p, uint8_t *nsteps)
{
	*nsteps = patterns[p].n;
	return patterns[p].steps;
}

void owl_led_init(struct owl_led *led)
{
	led->steps = NULL;
	led->nsteps = 0;
	led->idx = 0;
	led->t0 = 0;
	led->status = 0;
	led->quiet_until = 0;
	for (int i = 0; i < SLOT_COUNT; i++) {
		led->due[i] = OWL_LED_NEVER;
	}
}

static void start(struct owl_led *led, enum owl_led_pattern p, int64_t now_ms)
{
	led->steps = patterns[p].steps;
	led->nsteps = patterns[p].n;
	led->idx = 0;
	led->t0 = now_ms;
}

void owl_led_play(struct owl_led *led, enum owl_led_pattern p, int64_t now_ms)
{
	start(led, p, now_ms);
}

void owl_led_set_status(struct owl_led *led, uint8_t status, int64_t now_ms)
{
	for (int i = 0; i < SLOT_COUNT; i++) {
		bool was = led->status & slots[i].status_bit;
		bool is = status & slots[i].status_bit;

		if (is && !was) {
			led->due[i] = now_ms + slots[i].first_ms;
		} else if (!is) {
			led->due[i] = OWL_LED_NEVER;
		}
	}
	led->status = status;
}

struct owl_led_out owl_led_step(struct owl_led *led, int64_t now_ms)
{
	for (;;) {
		if (led->steps) {
			/* Advance past every step that has already ended (catches up if late). */
			while (led->idx < led->nsteps && now_ms >= led->t0 + led->steps[led->idx]) {
				led->t0 += led->steps[led->idx];
				led->idx++;
			}
			if (led->idx < led->nsteps) {
				return (struct owl_led_out){
					.on = (led->idx % 2) == 0,
					.next_ms = led->t0 + led->steps[led->idx],
				};
			}
			led->steps = NULL;
			led->quiet_until = led->t0 + OWL_LED_GAP_MS;
		}

		int64_t next = OWL_LED_NEVER;
		int due_slot = -1;

		for (int i = 0; i < SLOT_COUNT; i++) {
			int64_t at = MAX(led->due[i], led->quiet_until);

			if (led->due[i] == OWL_LED_NEVER) {
				continue;
			}
			if (at <= now_ms && due_slot < 0) {
				due_slot = i;
			}
			if (at < next) {
				next = at;
			}
		}
		if (due_slot < 0) {
			return (struct owl_led_out){.on = false, .next_ms = next};
		}
		/* Re-arm from now (not from the old due time) so a long one-shot can't cause a burst. */
		led->due[due_slot] = now_ms + slots[due_slot].period_ms;
		start(led, slots[due_slot].pattern, now_ms);
	}
}
```
